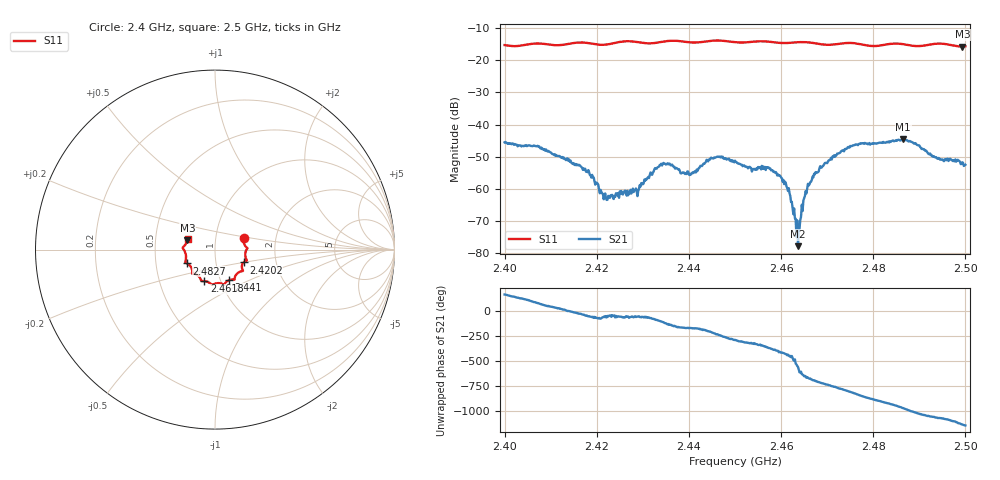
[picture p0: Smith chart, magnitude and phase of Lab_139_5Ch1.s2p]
# Hz S RI R 50
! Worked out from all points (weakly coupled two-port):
!   601 points, 2.4 GHz to 2.5 GHz, reference 50 ohm
!   highest |S21| = -44.64 dB at 2.4865 GHz (marker M1); lowest = -77.7 dB at 2.4637 GHz (marker M2)
!   lowest |S11| = -15.8 dB at 2.4993 GHz (marker M3), VSWR 1.39, Z = 36.5 + j3.8 ohm
!   |S11| at or under -10 dB: start of sweep to end of sweep
!   S12 and S22 are empty: the file has one direction only
!   S11 on the Smith chart (normalised r, x): 2.4 GHz: 1.36, +0.18; 2.4202 GHz: 1.36, -0.20; 2.441 GHz: 1.10, -0.39; 2.4618 GHz: 0.84, -0.30; 2.4827 GHz: 0.72, -0.11; 2.5 GHz: 0.73, +0.09
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2.4e9  0.159 0.0628  -0.00516 0.00118  0 0  0 0
2.407e9  0.1808 0.00866  0.000557 0.00456  0 0  0 0
2.416667e9  0.1774 -0.0608  0.00192 -0.00106  0 0  0 0
2.420167e9  0.1589 -0.0718  0.000381 -0.00116  0 0  0 0
2.422e9  0.1501 -0.0874  0.000465 -0.000538  0 0  0 0
2.4285e9  0.1495 -0.1204  0.000524 -0.000872  0 0  0 0
2.433333e9  0.1116 -0.1507  -9.94e-05 -0.0022  0 0  0 0
2.441e9  0.0789 -0.1699  -0.00175 -0.000248  0 0  0 0
2.445167e9  0.0516 -0.1936  -0.00239 0.00182  0 0  0 0
2.45e9  0.0287 -0.1874  0.000893 0.0026  0 0  0 0
2.457667e9  -0.0231 -0.1905  0.00202 -0.000474  0 0  0 0
2.46e9  -0.0407 -0.1799  0.000814 -0.00127  0 0  0 0
2.461833e9  -0.0592 -0.1756  -5.83e-05 -0.000859  0 0  0 0
2.463667e9  -0.0723 -0.1753  -0.000122 4.37e-05  0 0  0 0
2.465333e9  -0.077 -0.1734  0.000392 0.000838  0 0  0 0
2.466667e9  -0.0788 -0.1682  0.00115 0.000762  0 0  0 0
2.475e9  -0.1274 -0.1337  -4.69e-05 -0.00465  0 0  0 0
2.482667e9  -0.1559 -0.0771  -0.00494 0.00169  0 0  0 0
2.483333e9  -0.1603 -0.0751  -0.00492 0.00239  0 0  0 0
2.4865e9  -0.1646 -0.0639  -0.0016 0.00564  0 0  0 0
2.499333e9  -0.1542 0.0507  0.00139 -0.00219  0 0  0 0
2.5e9  -0.1523 0.0603  0.00088 -0.00221  0 0  0 0
